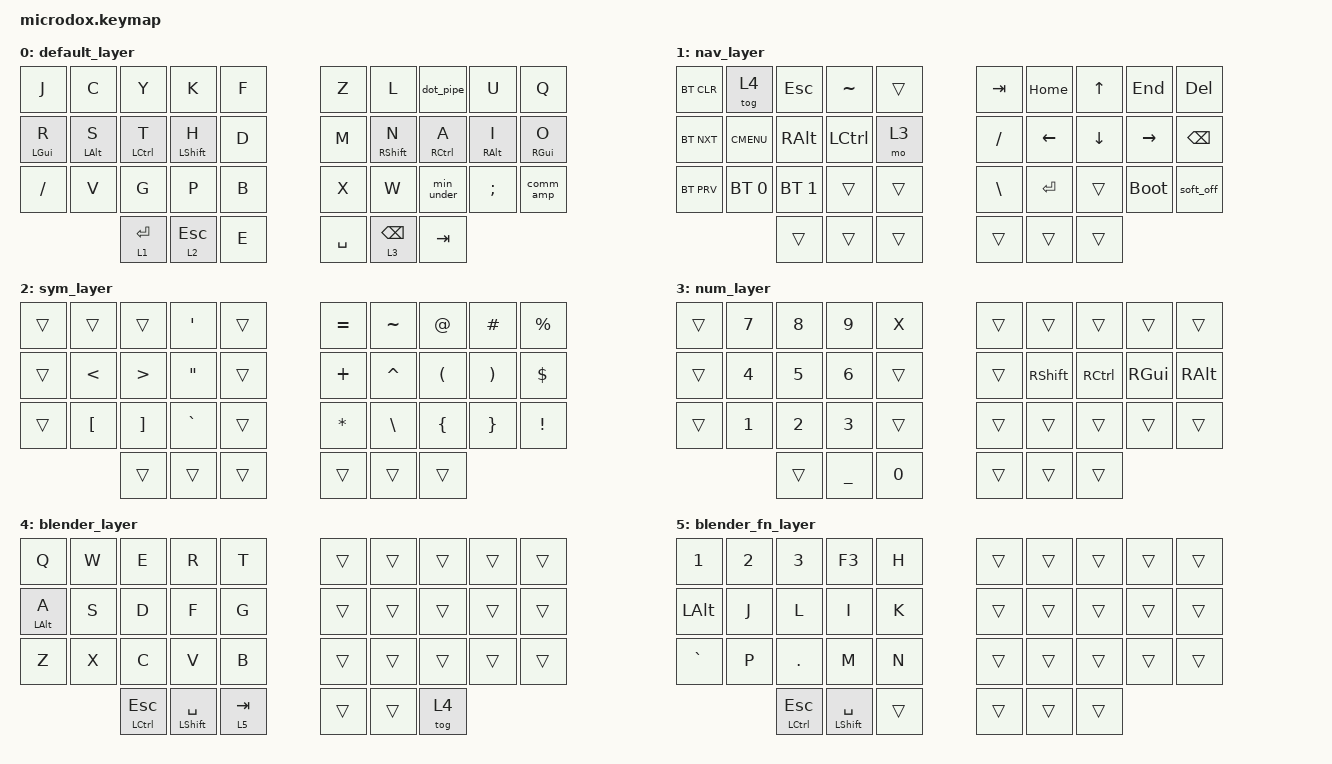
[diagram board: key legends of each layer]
/*
 * Copyright (c) 2020 The ZMK Contributors
 *
 * SPDX-License-Identifier: MIT
 */

#include <behaviors.dtsi>
#include <dt-bindings/zmk/keys.h>
#include <dt-bindings/zmk/bt.h>

&mt {
    tapping-term-ms = <400>;
    retro-tap;
};

/ {
    combos {
        compatible = "zmk,combos";
        combo_reset {
            timeout-ms = <50>;
            key-positions = <0 1>;
            bindings = <&kp ESC>;
            // Limit to the typing layers so Q+W in Blender doesn't fire Esc
            layers = <0 1 2 3>;
        };
    };

    behaviors {

rpi: require_prior_idle {
    compatible = "zmk,behavior-hold-tap";
    #binding-cells = <2>;
    flavor = "tap-preferred";
    tapping-term-ms = <200>;
    quick-tap-ms = <200>;
    require-prior-idle-ms = <125>;
    bindings = <&kp>, <&kp>;
};
        min_under: minus_flat {
            compatible = "zmk,behavior-mod-morph";
            #binding-cells = <0>;
            bindings = <&kp MINUS>, <&kp UNDERSCORE>;
            mods = <(MOD_LSFT|MOD_RSFT)>;
        };
        comm_amp: comma_ampster {
            compatible = "zmk,behavior-mod-morph";
            #binding-cells = <0>;
            bindings = <&kp COMMA>, <&kp AMPERSAND>;
            mods = <(MOD_LSFT|MOD_RSFT)>;
        };
        dot_pipe: period_pipe {
            compatible = "zmk,behavior-mod-morph";
            #binding-cells = <0>;
            bindings = <&kp PERIOD>, <&kp PIPE>;
            mods = <(MOD_LSFT|MOD_RSFT)>;
        };
        bspc_del: backspace_delete {
            compatible = "zmk,behavior-mod-morph";
            #binding-cells = <0>;
            bindings = <&kp BACKSPACE>, <&kp DELETE>;
            mods = <(MOD_LSFT|MOD_RSFT)>;
	    keep-mods = <(MOD_RSFT)>;
        };

lt_bspc: layer_tap_bspc_del {
    compatible = "zmk,behavior-hold-tap";
    label = "LAYER_TAP_BACKSPACE_DELETE";
    #binding-cells = <2>;
    bindings = <&mo>, <&bspc_del>;
    tapping-term-ms = <200>;
};

// Blender mod-tap: no retro-tap, so holding Alt/Ctrl/Shift while
// dragging the pen and then releasing never types the tap key.
bmt: blender_mod_tap {
    compatible = "zmk,behavior-hold-tap";
    #binding-cells = <2>;
    flavor = "balanced";
    tapping-term-ms = <200>;
    bindings = <&kp>, <&kp>;
};

// Blender layer-tap: hold for the Blender function layer, tap for Tab.
blt: blender_layer_tap {
    compatible = "zmk,behavior-hold-tap";
    #binding-cells = <2>;
    flavor = "balanced";
    tapping-term-ms = <200>;
    bindings = <&mo>, <&kp>;
};
    };

        keymap {
                compatible = "zmk,keymap";

                default_layer {
// -----------------------------------------------------------------------------------------
// |  J  |  C  |  Y  |  K  |  F   |   |  Z  |  L   |  |  |  U  |  Q  |
// |  R  |  S  |  T  |  H  |  D   |   |  M  |  N   |  A  |  I  |  O  |
// |  Z  |  X  |  C  |  V  |  B   |   |  X  |  W   |  -  |  ;  |  ,  |
//             | GUI | NAV |  E   |   | SPC | SYM  | ALT |
bindings = <
    &kp J &kp C &kp Y &kp K &kp F     &kp Z &kp L &dot_pipe &kp U &kp Q
    &rpi LGUI R &rpi LALT S &rpi LCTRL T &rpi LSHIFT H &kp D     &kp M &rpi RSHIFT N &rpi RCTRL A &rpi RALT I &rpi RGUI O
    &kp FSLH &kp V &kp G &kp P &kp B  &kp X &kp W &min_under &kp SEMI &comm_amp
    
             &lt 1 RETURN &lt 2 ESC  &kp E &kp SPACE &lt 3 BACKSPACE &kp TAB
>;
                };
                nav_layer {
// -----------------------------------------------------------------------------------------
// |BTCLR|BLNDR| ESC |  ~   |     |   | TAB | HOME |  UP  | END | DEL  |
// | BT1 | GUI | ALT | CTRL | NUM |   |  /  | LEFT | DOWN | RGT | BSPC |
// | BT2 |     |     |      |     |   |  \  | ENT  |      |     |      |
//             |     |      |     |   |     |      |      |
// BLNDR = toggle Blender mode on
                        bindings = <
   &bt BT_CLR   &tog 4      &kp ESC  &kp TILDE &trans     &kp TAB  &kp HOME &kp UP   &kp END   &kp DEL
   &bt BT_NXT &kp K_CMENU &kp RALT &kp LCTRL &mo 3      &kp FSLH &kp LEFT &kp DOWN &kp RIGHT &kp BSPC
   &bt BT_PRV &bt BT_SEL 0      &bt BT_SEL 1   &trans    &trans     &kp BSLH &kp RET  &trans   &bootloader    &soft_off
                            &trans   &trans    &trans     &trans   &trans   &trans
                        >;
                };

                sym_layer {
		
//'   =~&#%    '
//"   +^()$    "
//`    *\{}!   `
// 
// -----------------------------------------------------------------------------------------
// |  !  |  @  |  #  |  $  |  %  |   |  ^  |  &  |  *  |  (  |  )  |
// |     |     |     |     |     |   |  -  |  =  |  {  |  }  | "|" |
// |     |     |     |     |     |   |  _  |  +  |  [  |  ]  |  \  |
//             | GUI |     | SPC |   | ENT |     | ALT |
                        bindings = <
   &trans &trans &trans &kp APOS  &trans   &kp EQUAL &kp TILDE  &kp AT &kp HASH &kp PRCNT
   &trans    &kp LT    &kp GT    &kp DQT    &trans      &kp PLUS &kp CARET &kp LPAR  &kp RPAR &kp DLLR
   &trans    &kp LBKT  &kp RBKT    &kp GRAVE    &trans      &kp STAR &kp BACKSLASH &kp LBRC &kp RBRC &kp EXCL
                       &trans  &trans    &trans   &trans  &trans    &trans
                        >;
                };

// This layer is unreachable until "tri layer state" is sorted out.
// Leaving it here for completeness.
                num_layer {
// -----------------------------------------------------------------------------------------
// |     |     |     |     |     |   |  A  |  7  |  8  |  9  |  D  |
// |     |     |     |     |     |   |  B  |  4  |  5  |  6  |  E  |
// |     |     |     |     |     |   |  C  |  1  |  2  |  3  |  F  |
//             |     |     |     |   |  0  |  .  |     |
                        bindings = <
   &trans &kp N7 &kp N8 &kp N9 &kp X     &trans &trans &trans &trans &trans
   &trans &kp N4 &kp N5 &kp N6 &trans    &trans &kp RSHIFT &kp RCTRL &kp RGUI &kp RALT 
   &trans &kp N1 &kp N2 &kp N3 &trans    &trans &trans &trans &trans &trans
                 &trans &kp UNDER &kp N0    &trans &trans &trans
                        >;
                };

                blender_layer {
// Layer 4 - Blender base (left hand only; right half falls through to default)
// -----------------------------------------------------------------------------------------
// |  Q  |  W  |  E  |  R  |  T   |   |     |      |      |     |      |
// |A/ALT|  S  |  D  |  F  |  G   |   |     |      |      |     |      |
// |  Z  |  X  |  C  |  V  |  B   |   |     |      |      |     |      |
//       |ESC/CTRL|SPC/SHFT|TAB/BFN|  |     |      | EXIT |
                        bindings = <
   &kp Q &kp W &kp E &kp R &kp T     &trans &trans &trans &trans &trans
   &bmt LALT A &kp S &kp D &kp F &kp G     &trans &trans &trans &trans &trans
   &kp Z &kp X &kp C &kp V &kp B     &trans &trans &trans &trans &trans
             &bmt LCTRL ESC &bmt LSHFT SPACE &blt 5 TAB     &trans &trans &tog 4
                        >;
                };

                blender_fn_layer {
// Layer 5 - Blender function (hold inner left thumb)
// -----------------------------------------------------------------------------------------
// |  1  |  2  |  3  | F3  |  H   |   |     |      |      |     |      |
// | ALT |  J  |  L  |  I  |  K   |   |     |      |      |     |      |
// |  `  |  P  |  .  |  M  |  N   |   |     |      |      |     |      |
//       |  CTRL  |  SHIFT |  (held)  |     |      |      |
                        bindings = <
   &kp N1 &kp N2 &kp N3 &kp F3 &kp H     &trans &trans &trans &trans &trans
   &kp LALT &kp J &kp L &kp I &kp K      &trans &trans &trans &trans &trans
   &kp GRAVE &kp P &kp DOT &kp M &kp N   &trans &trans &trans &trans &trans
             &bmt LCTRL ESC &bmt LSHFT SPACE &trans     &trans &trans &trans
                        >;
                };
        };
};
